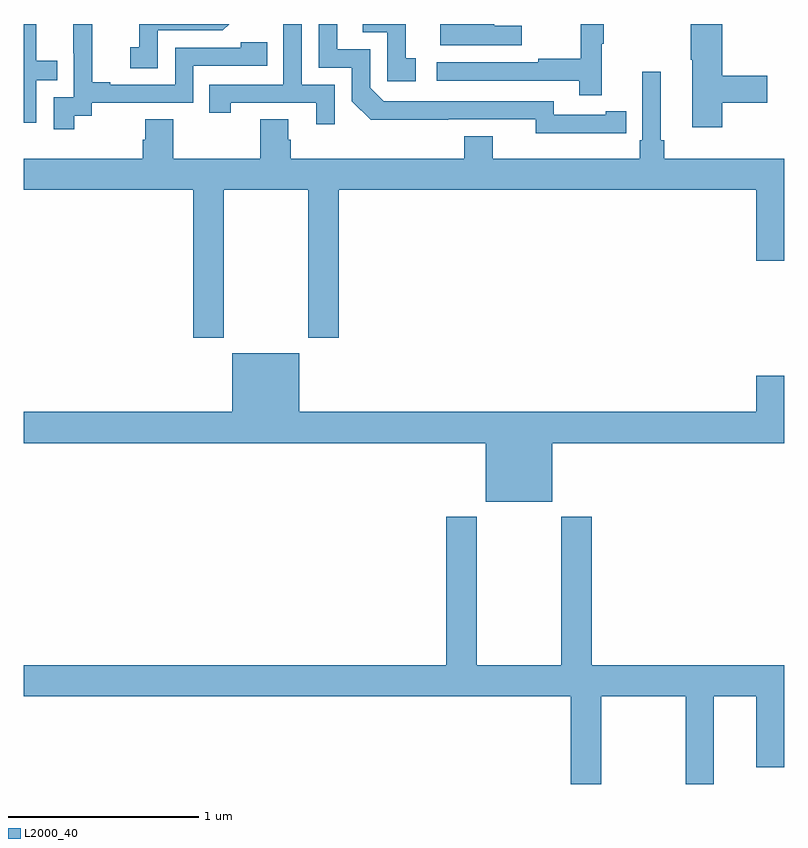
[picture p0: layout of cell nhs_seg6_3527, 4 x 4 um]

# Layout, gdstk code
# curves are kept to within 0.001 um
import gdstk
lib = gdstk.Library(unit=1e-6, precision=1e-09)
def P(c, l, *ps):  # polygons
    for p in ps: c.add(gdstk.Polygon(p, *l))
L2000_40 = (2000, 40)

nhs_seg6_3527 = lib.new_cell('nhs_seg6_3527')
P(nhs_seg6_3527, L2000_40, [(320.039,989.395),(320.05,989.395),(320.05,989.5),(319.929,989.5),(319.929,989.318),(319.705,989.318),(319.705,989.298),(319.173,989.298),(319.173,989.202),(319.921,989.202),(319.921,989.124),(320.039,989.124)],
  [(320.675,989.086),(320.911,989.086),(320.911,989.228),(320.675,989.228),(320.675,989.5),(320.509,989.5),(320.509,989.311),(320.516,989.311),(320.516,988.956),(320.675,988.956)],
  [(320.06,988.926),(320.168,988.926),(320.168,989.042),(320.06,989.042),(320.06,989.022),(319.788,989.022),(319.788,989.094),(318.894,989.094),(318.822,989.166),(318.822,989.367),(318.649,989.367),(318.649,989.5),(318.552,989.5),(318.552,989.271),(318.726,989.271),(318.726,989.094),(318.824,988.997),(319.692,988.998),(319.692,988.925)],
  [(318.636,989.181),(318.462,989.181),(318.462,989.5),(318.366,989.5),(318.366,989.181),(317.977,989.181),(317.977,989.034),(318.088,989.034),(318.088,989.085),(318.539,989.085),(318.539,988.974),(318.636,988.974)],
  [(317.706,989.466),(318.048,989.466),(318.082,989.5),(317.608,989.5),(317.608,989.377),(317.559,989.377),(317.559,989.268),(317.706,989.268)],
  [(319.618,989.491),(319.475,989.491),(319.475,989.5),(319.19,989.5),(319.19,989.387),(319.618,989.387)],
  [(319.063,989.319),(319.01,989.319),(319.01,989.5),(318.783,989.5),(318.783,989.457),(318.912,989.457),(318.912,989.199),(319.063,989.199)],
  [(317.067,989.205),(317.177,989.205),(317.177,989.306),(317.067,989.306),(317.067,989.5),(317,989.5),(317,988.98),(317.067,988.98)],
  [(317.266,989.017),(317.358,989.017),(317.358,989.085),(317.892,989.085),(317.892,989.28),(318.281,989.28),(318.281,989.403),(318.141,989.403),(318.141,989.376),(317.796,989.376),(317.796,989.181),(317.455,989.181),(317.455,989.194),(317.36,989.194),(317.36,989.477),(317.361,989.477),(317.361,989.5),(317.261,989.5),(317.261,989.345),(317.262,989.345),(317.262,989.115),(317.157,989.115),(317.157,988.947),(317.266,988.947)],
  [(317.891,987.849),(318.051,987.849),(318.051,988.628),(318.496,988.628),(318.496,987.849),(318.656,987.849),(318.656,988.628),(320.852,988.628),(320.852,988.254),(321,988.254),(321,988.792),(320.369,988.792),(320.369,988.888),(320.35,988.888),(320.35,989.248),(320.253,989.248),(320.253,988.888),(320.24,988.888),(320.24,988.792),(319.468,988.792),(319.468,988.909),(319.316,988.909),(319.316,988.792),(318.404,988.792),(318.404,988.89),(318.391,988.89),(318.391,989),(318.244,989),(318.244,988.792),(317.787,988.792),(317.787,989),(317.639,989),(317.639,988.89),(317.627,988.89),(317.627,988.792),(317,988.792),(317,988.628),(317.891,988.628)],
  [(319.78,987.296),(321,987.296),(321,987.649),(320.852,987.649),(320.852,987.46),(318.448,987.46),(318.448,987.769),(318.098,987.769),(318.098,987.46),(317,987.46),(317,987.296),(319.43,987.296),(319.43,986.987),(319.78,986.987)],
  [(320.037,985.964),(320.482,985.964),(320.482,985.503),(320.629,985.503),(320.629,985.964),(320.852,985.964),(320.852,985.59),(321,985.59),(321,986.128),(319.988,986.128),(319.988,986.908),(319.828,986.908),(319.828,986.128),(319.383,986.128),(319.383,986.908),(319.223,986.908),(319.223,986.128),(317,986.128),(317,985.964),(319.877,985.964),(319.877,985.503),(320.037,985.503)])

lib.write_gds('nhs_seg6_3527.gds')
